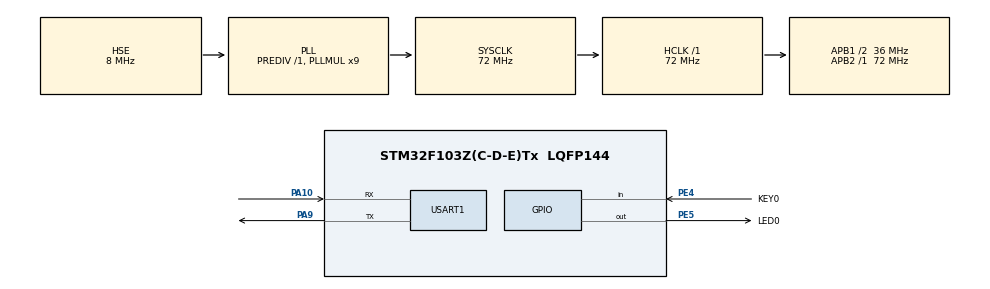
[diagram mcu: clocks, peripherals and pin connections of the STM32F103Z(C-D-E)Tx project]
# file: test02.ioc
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FREERTOS.BinarySemaphores01=myBinarySem01,Dynamic,NULL,Available
FREERTOS.Tasks01=defaultTask,24,128,StartDefaultTask,Default,NULL,Dynamic,NULL,NULL;myTaskLED,8,256,StartTaskLED,Default,NULL,Dynamic,NULL,NULL;myTaskKEY,8,256,StartTaskKEY,Default,NULL,Dynamic,NULL,NULL;myTaskPrint,8,128,StartTaskPrint,Default,NULL,Dynamic,NULL,NULL
FREERTOS.configTOTAL_HEAP_SIZE=10240
Mcu.Family=STM32F1
Mcu.Name=STM32F103Z(C-D-E)Tx
Mcu.Package=LQFP144
NVIC.PriorityGroup=NVIC_PRIORITYGROUP_4
NVIC.TIM7_IRQn=true\:15\:0\:false\:false\:true\:false\:false\:true\:true
NVIC.TimeBase=TIM7_IRQn
NVIC.TimeBaseIP=TIM7
OSC_IN.Mode=HSE-External-Oscillator
OSC_IN.Signal=RCC_OSC_IN
OSC_OUT.Mode=HSE-External-Oscillator
OSC_OUT.Signal=RCC_OSC_OUT
PA10.Mode=Asynchronous
PA10.Signal=USART1_RX
PA13.Mode=Serial_Wire
PA13.Signal=SYS_JTMS-SWDIO
PA14.Mode=Serial_Wire
PA14.Signal=SYS_JTCK-SWCLK
PA9.Mode=Asynchronous
PA9.Signal=USART1_TX
PC14-OSC32_IN.Mode=LSE-External-Oscillator
PC14-OSC32_IN.Signal=RCC_OSC32_IN
PC15-OSC32_OUT.Mode=LSE-External-Oscillator
PC15-OSC32_OUT.Signal=RCC_OSC32_OUT
PE4.GPIO_Label=KEY0
PE4.GPIO_PuPd=GPIO_PULLUP
PE4.Signal=GPIO_Input
PE5.GPIO_Label=LED0
PE5.GPIO_PuPd=GPIO_PULLUP
PE5.GPIO_Speed=GPIO_SPEED_FREQ_HIGH
PE5.PinState=GPIO_PIN_SET
PE5.Signal=GPIO_Output
ProjectManager.HeapSize=0x200
ProjectManager.StackSize=0x400
ProjectManager.TargetToolchain=MDK-ARM V5.32
RCC.AHBFreq_Value=72000000
RCC.APB1CLKDivider=RCC_HCLK_DIV2
RCC.APB1Freq_Value=36000000
RCC.APB1TimFreq_Value=72000000
RCC.APB2Freq_Value=72000000
RCC.APB2TimFreq_Value=72000000
RCC.HCLKFreq_Value=72000000
RCC.PLLMUL=RCC_PLL_MUL9
RCC.PLLSourceVirtual=RCC_PLLSOURCE_HSE
RCC.SYSCLKFreq_VALUE=72000000
RCC.SYSCLKSource=RCC_SYSCLKSOURCE_PLLCLK
RCC.USBFreq_Value=72000000
USART1.VirtualMode=VM_ASYNC
VP_FREERTOS_VS_CMSIS_V2.Mode=CMSIS_V2
VP_SYS_VS_tim7.Mode=TIM7
board=custom

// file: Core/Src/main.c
/* USER CODE BEGIN Header */
/**
  ******************************************************************************
  * @file           : main.c
  * @brief          : Main program body
  ******************************************************************************
  * @attention
  *
  * Copyright (c) 2026 STMicroelectronics.
  * All rights reserved.
  *
  * This software is licensed under terms that can be found in the LICENSE file
  * in the root directory of this software component.
  * If no LICENSE file comes with this software, it is provided AS-IS.
  *
  ******************************************************************************
  */
/* USER CODE END Header */
#include "main.h"
#include "cmsis_os.h"
#include "usart.h"
#include "gpio.h"

void SystemClock_Config(void);
void MX_FREERTOS_Init(void);

int main(void)
{

  /* MCU Configuration--------------------------------------------------------*/

  /* Reset of all peripherals, Initializes the Flash interface and the Systick. */
  HAL_Init();

  /* Configure the system clock */
  SystemClock_Config();

  /* Initialize all configured peripherals */
  MX_GPIO_Init();
  MX_USART1_UART_Init();

  /* Init scheduler */
  osKernelInitialize();  /* Call init function for freertos objects (in cmsis_os2.c) */
  MX_FREERTOS_Init();

  /* Start scheduler */
  osKernelStart();

  /* We should never get here as control is now taken by the scheduler */

  /* Infinite loop */
  while (1)
  {

  }
}

void SystemClock_Config(void)
{
  RCC_OscInitTypeDef RCC_OscInitStruct = {0};
  RCC_ClkInitTypeDef RCC_ClkInitStruct = {0};

  /** Initializes the RCC Oscillators according to the specified parameters
  * in the RCC_OscInitTypeDef structure.
  */
  RCC_OscInitStruct.OscillatorType = RCC_OSCILLATORTYPE_HSE;
  RCC_OscInitStruct.HSEState = RCC_HSE_ON;
  RCC_OscInitStruct.HSEPredivValue = RCC_HSE_PREDIV_DIV1;
  RCC_OscInitStruct.HSIState = RCC_HSI_ON;
  RCC_OscInitStruct.PLL.PLLState = RCC_PLL_ON;
  RCC_OscInitStruct.PLL.PLLSource = RCC_PLLSOURCE_HSE;
  RCC_OscInitStruct.PLL.PLLMUL = RCC_PLL_MUL9;
  if (HAL_RCC_OscConfig(&RCC_OscInitStruct) != HAL_OK)
  {
    Error_Handler();
  }

  /** Initializes the CPU, AHB and APB buses clocks
  */
  RCC_ClkInitStruct.ClockType = RCC_CLOCKTYPE_HCLK|RCC_CLOCKTYPE_SYSCLK
                              |RCC_CLOCKTYPE_PCLK1|RCC_CLOCKTYPE_PCLK2;
  RCC_ClkInitStruct.SYSCLKSource = RCC_SYSCLKSOURCE_PLLCLK;
  RCC_ClkInitStruct.AHBCLKDivider = RCC_SYSCLK_DIV1;
  RCC_ClkInitStruct.APB1CLKDivider = RCC_HCLK_DIV2;
  RCC_ClkInitStruct.APB2CLKDivider = RCC_HCLK_DIV1;

  if (HAL_RCC_ClockConfig(&RCC_ClkInitStruct, FLASH_LATENCY_2) != HAL_OK)
  {
    Error_Handler();
  }
}

void HAL_TIM_PeriodElapsedCallback(TIM_HandleTypeDef *htim)
{
  if (htim->Instance == TIM7)
  {
    HAL_IncTick();
  }
}

void Error_Handler(void)
{
  __disable_irq();
  while (1)
  {
  }
}

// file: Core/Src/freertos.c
/* USER CODE BEGIN Header */
/**
  ******************************************************************************
  * File Name          : freertos.c
  * Description        : Code for freertos applications
  ******************************************************************************
  * @attention
  *
  * Copyright (c) 2026 STMicroelectronics.
  * All rights reserved.
  *
  * This software is licensed under terms that can be found in the LICENSE file
  * in the root directory of this software component.
  * If no LICENSE file comes with this software, it is provided AS-IS.
  *
  ******************************************************************************
  */
/* USER CODE END Header */

#include "FreeRTOS.h"
#include "task.h"
#include "main.h"
#include "cmsis_os.h"

/* Definitions for defaultTask */
osThreadId_t defaultTaskHandle;
const osThreadAttr_t defaultTask_attributes = {
  .name = "defaultTask",
  .stack_size = 128 * 4,
  .priority = (osPriority_t) osPriorityNormal,
};
/* Definitions for myTaskLED */
osThreadId_t myTaskLEDHandle;
const osThreadAttr_t myTaskLED_attributes = {
  .name = "myTaskLED",
  .stack_size = 256 * 4,
  .priority = (osPriority_t) osPriorityLow,
};
/* Definitions for myTaskKEY */
osThreadId_t myTaskKEYHandle;
const osThreadAttr_t myTaskKEY_attributes = {
  .name = "myTaskKEY",
  .stack_size = 256 * 4,
  .priority = (osPriority_t) osPriorityLow,
};
/* Definitions for myTaskPrint */
osThreadId_t myTaskPrintHandle;
const osThreadAttr_t myTaskPrint_attributes = {
  .name = "myTaskPrint",
  .stack_size = 128 * 4,
  .priority = (osPriority_t) osPriorityLow,
};
/* Definitions for myBinarySem01 */
osSemaphoreId_t myBinarySem01Handle;//信号量
const osSemaphoreAttr_t myBinarySem01_attributes = {
  .name = "myBinarySem01"
};

void StartDefaultTask(void *argument);
void StartTaskLED(void *argument);
void StartTaskKEY(void *argument);
void StartTaskPrint(void *argument);

void MX_FREERTOS_Init(void); /* (MISRA C 2004 rule 8.1) */

void MX_FREERTOS_Init(void) {

  /* Create the semaphores(s) */
  /* creation of myBinarySem01 */
  myBinarySem01Handle = osSemaphoreNew(1, 0, &myBinarySem01_attributes);

  /* Create the thread(s) */
  /* creation of defaultTask */
  defaultTaskHandle = osThreadNew(StartDefaultTask, NULL, &defaultTask_attributes);

  /* creation of myTaskLED */
  myTaskLEDHandle = osThreadNew(StartTaskLED, NULL, &myTaskLED_attributes);

  /* creation of myTaskKEY */
  myTaskKEYHandle = osThreadNew(StartTaskKEY, NULL, &myTaskKEY_attributes);

  /* creation of myTaskPrint */
  myTaskPrintHandle = osThreadNew(StartTaskPrint, NULL, &myTaskPrint_attributes);

}

void StartDefaultTask(void *argument)
{
  for(;;)
  {
    osDelay(1);
  }
}

void StartTaskLED(void *argument)
{
  /* USER CODE BEGIN StartTaskLED */
  /* Infinite loop */
  for(;;)
  {
    HAL_GPIO_TogglePin(LED0_GPIO_Port,LED0_Pin);
    osDelay(500);
  }
  /* USER CODE END StartTaskLED */
}

void StartTaskKEY(void *argument)
{
  /* USER CODE BEGIN StartTaskKEY */
  /* Infinite loop */

  for(;;)
  {
    if(HAL_GPIO_ReadPin(KEY0_GPIO_Port,KEY0_Pin)==GPIO_PIN_RESET)
    {
      osDelay(20);
      if(HAL_GPIO_ReadPin(KEY0_GPIO_Port,KEY0_Pin)==GPIO_PIN_RESET)
      {
        //如果按键按下，释放信号量，开始打印
        printf("key press!");
        osSemaphoreRelease(myBinarySem01Handle);
        osDelay(20);
      }
    }
    osDelay(1);
  }
  /* USER CODE END StartTaskKEY */
}

void StartTaskPrint(void *argument)
{
  /* USER CODE BEGIN StartTaskPrint */
  /* Infinite loop */

  for(;;)
  {
    if(osSemaphoreAcquire(myBinarySem01Handle,1000)==pdTRUE)
    {
      printf("get semaphore\r\n");
    }
    osDelay(2000);
  }
  /* USER CODE END StartTaskPrint */
}

/* USER CODE BEGIN Application */
//利用TickHook实现呼吸灯 LED0
static volatile uint32_t cnt=0;//频率计数
static volatile uint32_t duty=0;//占空比
static volatile int32_t dir=1;//方向 1变亮，-1变灭
static volatile uint32_t BreathCnt=0;//每一个duty中有100ms，100ms才允许duty变化一次
//0-10, 亮度被切换成10档，100ms变化一次亮度。从灭到亮需要1000ms
void vApplicationTickHook (void)
{
  //1.快循环   10ms一次改变
  if(cnt<duty)
  {
    HAL_GPIO_WritePin(LED0_GPIO_Port,LED0_Pin,GPIO_PIN_RESET);
  }
  else
  {
    HAL_GPIO_WritePin(LED0_GPIO_Port,LED0_Pin,GPIO_PIN_SET);
  }
  cnt++;
  if(cnt>=10)
  {
    cnt=0;
  }
  //2.慢循环
  BreathCnt++;
  if(dir==1)//如果是要变亮
  {
    if(BreathCnt>=100)
    {
      BreathCnt=0;
      if(duty<=10)
      {
        duty++;
      }
      else
      {
        dir=-1;
      }
    }
  }
  else//如果是要变灭
  {
    if(BreathCnt>=100)
    {
      BreathCnt=0;
      if(duty>0)
      {
        duty--;
      }
      else
      {
        dir=1;
      }
    }
  }

}
/* USER CODE END Application */
